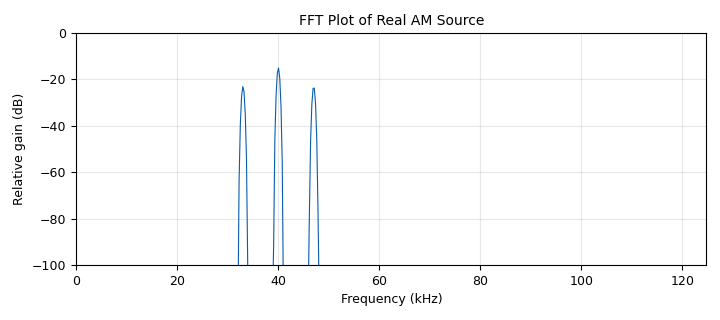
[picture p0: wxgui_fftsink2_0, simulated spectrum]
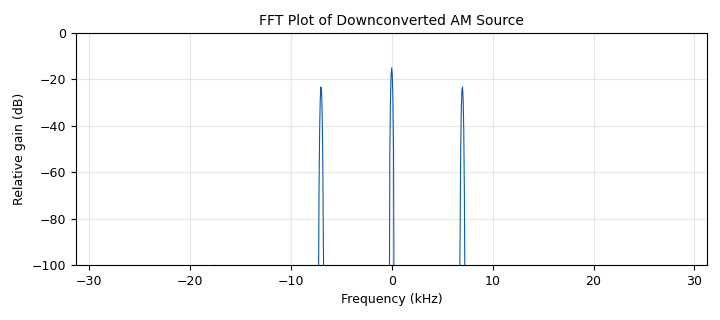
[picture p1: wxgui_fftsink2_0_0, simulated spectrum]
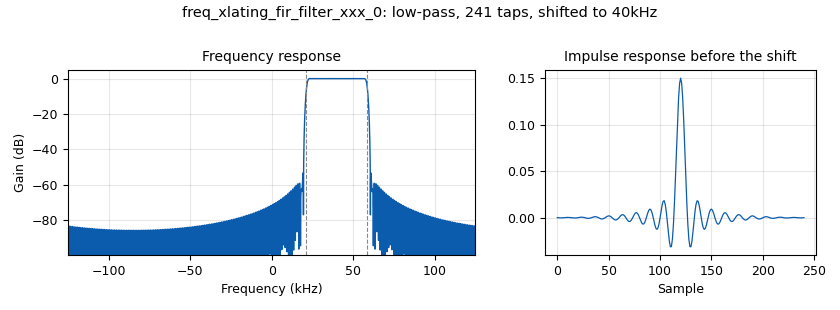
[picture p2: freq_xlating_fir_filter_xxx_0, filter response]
<?xml version='1.0' encoding='utf-8'?>
<?grc format='1' created='3.7.5'?>
<flow_graph>
<block>
<key>options</key>
<param><key>id</key><value>top_block</value></param>
<param><key>generate_options</key><value>wx_gui</value></param>
<param><key>category</key><value>Custom</value></param>
</block>
<block>
<key>variable</key>
<param><key>id</key><value>samp_rate</value></param>
<param><key>value</key><value>250000</value></param>
</block>
<block>
<key>variable</key>
<param><key>id</key><value>decimation</value></param>
<param><key>value</key><value>4</value></param>
</block>
<block>
<key>analog_sig_source_x</key>
<param><key>id</key><value>analog_sig_source_x_0</value></param>
<param><key>type</key><value>float</value></param>
<param><key>samp_rate</key><value>samp_rate</value></param>
<param><key>waveform</key><value>analog.GR_COS_WAVE</value></param>
<param><key>freq</key><value>fmod</value></param>
<param><key>amp</key><value>0.4</value></param>
<param><key>offset</key><value>0</value></param>
</block>
<block>
<key>variable_slider</key>
<param><key>id</key><value>fmod</value></param>
<param><key>label</key><value>Modulation frequency</value></param>
<param><key>value</key><value>7e3</value></param>
<param><key>min</key><value>0</value></param>
<param><key>max</key><value>40e3</value></param>
<param><key>num_steps</key><value>100</value></param>
<param><key>style</key><value>wx.SL_HORIZONTAL</value></param>
<param><key>converver</key><value>float_converter</value></param>
</block>
<block>
<key>blocks_add_const_vxx</key>
<param><key>id</key><value>blocks_add_const_vxx_0</value></param>
<param><key>type</key><value>float</value></param>
<param><key>const</key><value>0.5</value></param>
</block>
<block>
<key>analog_sig_source_x</key>
<param><key>id</key><value>analog_sig_source_x_0_0</value></param>
<param><key>type</key><value>float</value></param>
<param><key>samp_rate</key><value>samp_rate</value></param>
<param><key>waveform</key><value>analog.GR_COS_WAVE</value></param>
<param><key>freq</key><value>fcarr</value></param>
<param><key>amp</key><value>1</value></param>
<param><key>offset</key><value>0</value></param>
</block>
<block>
<key>wxgui_fftsink2</key>
<param><key>id</key><value>wxgui_fftsink2_0</value></param>
<param><key>type</key><value>float</value></param>
<param><key>title</key><value>FFT Plot of Real AM Source</value></param>
<param><key>samp_rate</key><value>samp_rate</value></param>
<param><key>baseband_freq</key><value>0</value></param>
<param><key>y_per_div</key><value>10</value></param>
<param><key>y_divs</key><value>10</value></param>
<param><key>ref_level</key><value>0</value></param>
<param><key>ref_scale</key><value>2.0</value></param>
<param><key>fft_size</key><value>1024</value></param>
<param><key>fft_rate</key><value>15</value></param>
<param><key>peak_hold</key><value>False</value></param>
<param><key>average</key><value>False</value></param>
<param><key>avg_alpha</key><value>0</value></param>
<param><key>win</key><value>None</value></param>
<param><key>notebook</key><value>nb0,0</value></param>
<param><key>freqvar</key><value>None</value></param>
</block>
<block>
<key>freq_xlating_fir_filter_xxx</key>
<param><key>id</key><value>freq_xlating_fir_filter_xxx_0</value></param>
<param><key>type</key><value>fcf</value></param>
<param><key>decim</key><value>decimation</value></param>
<param><key>taps</key><value>firdes.low_pass(1,1,.5/decimation-0.05,0.01)</value></param>
<param><key>center_freq</key><value>fcarr</value></param>
<param><key>samp_rate</key><value>samp_rate</value></param>
</block>
<block>
<key>ha5kfu_execproc_xx</key>
<param><key>id</key><value>ha5kfu_execproc_xx_0</value></param>
<param><key>type</key><value>cf</value></param>
<param><key>commandline</key><value>csdr amdemod_cf</value></param>
</block>
<block>
<key>wxgui_scopesink2</key>
<param><key>id</key><value>wxgui_scopesink2_0</value></param>
<param><key>type</key><value>float</value></param>
<param><key>title</key><value>Scope Plot after amdemod_cf</value></param>
<param><key>samp_rate</key><value>samp_rate/decimation</value></param>
<param><key>v_scale</key><value>0</value></param>
<param><key>v_offset</key><value>0</value></param>
<param><key>t_scale</key><value>0</value></param>
<param><key>ac_couple</key><value>False</value></param>
<param><key>xy_mode</key><value>False</value></param>
<param><key>num_inputs</key><value>1</value></param>
<param><key>notebook</key><value>nb0,2</value></param>
<param><key>trig_mode</key><value>wxgui.TRIG_MODE_AUTO</value></param>
<param><key>y_axis_label</key><value>Counts</value></param>
</block>
<block>
<key>blocks_multiply_xx</key>
<param><key>id</key><value>blocks_multiply_xx_0</value></param>
<param><key>type</key><value>float</value></param>
</block>
<block>
<key>blocks_multiply_const_vxx</key>
<param><key>id</key><value>blocks_multiply_const_vxx_0</value></param>
<param><key>type</key><value>float</value></param>
<param><key>const</key><value>gain</value></param>
</block>
<block>
<key>blocks_throttle</key>
<param><key>id</key><value>blocks_throttle_0</value></param>
<param><key>type</key><value>float</value></param>
<param><key>samples_per_second</key><value>samp_rate</value></param>
</block>
<block>
<key>wxgui_fftsink2</key>
<param><key>id</key><value>wxgui_fftsink2_0_0</value></param>
<param><key>type</key><value>complex</value></param>
<param><key>title</key><value>FFT Plot of Downconverted AM Source</value></param>
<param><key>samp_rate</key><value>samp_rate/decimation</value></param>
<param><key>baseband_freq</key><value>0</value></param>
<param><key>y_per_div</key><value>10</value></param>
<param><key>y_divs</key><value>10</value></param>
<param><key>ref_level</key><value>0</value></param>
<param><key>ref_scale</key><value>2.0</value></param>
<param><key>fft_size</key><value>1024</value></param>
<param><key>fft_rate</key><value>15</value></param>
<param><key>peak_hold</key><value>False</value></param>
<param><key>average</key><value>False</value></param>
<param><key>avg_alpha</key><value>0</value></param>
<param><key>win</key><value>None</value></param>
<param><key>notebook</key><value>nb0,0</value></param>
<param><key>freqvar</key><value>None</value></param>
</block>
<block>
<key>wxgui_fftsink2</key>
<param><key>id</key><value>wxgui_fftsink2_0_0_0</value></param>
<param><key>type</key><value>float</value></param>
<param><key>title</key><value>FFT Plot after amdemod_cf</value></param>
<param><key>samp_rate</key><value>samp_rate/decimation</value></param>
<param><key>baseband_freq</key><value>0</value></param>
<param><key>y_per_div</key><value>10</value></param>
<param><key>y_divs</key><value>10</value></param>
<param><key>ref_level</key><value>0</value></param>
<param><key>ref_scale</key><value>2.0</value></param>
<param><key>fft_size</key><value>1024</value></param>
<param><key>fft_rate</key><value>15</value></param>
<param><key>peak_hold</key><value>False</value></param>
<param><key>average</key><value>False</value></param>
<param><key>avg_alpha</key><value>0</value></param>
<param><key>win</key><value>None</value></param>
<param><key>notebook</key><value>nb0,1</value></param>
<param><key>freqvar</key><value>None</value></param>
</block>
<block>
<key>wxgui_fftsink2</key>
<param><key>id</key><value>wxgui_fftsink2_0_0_0_0</value></param>
<param><key>type</key><value>float</value></param>
<param><key>title</key><value>FFT Plot after amdemod_estimator_cf</value></param>
<param><key>samp_rate</key><value>samp_rate/decimation</value></param>
<param><key>baseband_freq</key><value>0</value></param>
<param><key>y_per_div</key><value>10</value></param>
<param><key>y_divs</key><value>10</value></param>
<param><key>ref_level</key><value>0</value></param>
<param><key>ref_scale</key><value>2.0</value></param>
<param><key>fft_size</key><value>1024</value></param>
<param><key>fft_rate</key><value>15</value></param>
<param><key>peak_hold</key><value>False</value></param>
<param><key>average</key><value>False</value></param>
<param><key>avg_alpha</key><value>0</value></param>
<param><key>win</key><value>None</value></param>
<param><key>notebook</key><value>nb0,1</value></param>
<param><key>freqvar</key><value>None</value></param>
</block>
<block>
<key>wxgui_scopesink2</key>
<param><key>id</key><value>wxgui_scopesink2_0_0</value></param>
<param><key>type</key><value>float</value></param>
<param><key>title</key><value>Scope Plot after amdemod_estimator_cf</value></param>
<param><key>samp_rate</key><value>samp_rate/decimation</value></param>
<param><key>v_scale</key><value>0</value></param>
<param><key>v_offset</key><value>0</value></param>
<param><key>t_scale</key><value>0</value></param>
<param><key>ac_couple</key><value>False</value></param>
<param><key>xy_mode</key><value>False</value></param>
<param><key>num_inputs</key><value>1</value></param>
<param><key>notebook</key><value>nb0,2</value></param>
<param><key>trig_mode</key><value>wxgui.TRIG_MODE_AUTO</value></param>
<param><key>y_axis_label</key><value>Counts</value></param>
</block>
<block>
<key>notebook</key>
<param><key>id</key><value>nb0</value></param>
<param><key>style</key><value>wx.NB_TOP</value></param>
<param><key>labels</key><value>['AM source', 'demod', 'demod scope']</value></param>
</block>
<block>
<key>variable_slider</key>
<param><key>id</key><value>fcarr</value></param>
<param><key>label</key><value>Carrier frequency</value></param>
<param><key>value</key><value>40e3</value></param>
<param><key>min</key><value>0</value></param>
<param><key>max</key><value>samp_rate/2</value></param>
<param><key>num_steps</key><value>100</value></param>
<param><key>style</key><value>wx.SL_HORIZONTAL</value></param>
<param><key>converver</key><value>float_converter</value></param>
</block>
<block>
<key>variable_slider</key>
<param><key>id</key><value>gain</value></param>
<param><key>label</key><value>Gain</value></param>
<param><key>value</key><value>1.0</value></param>
<param><key>min</key><value>0</value></param>
<param><key>max</key><value>1.0</value></param>
<param><key>num_steps</key><value>100</value></param>
<param><key>style</key><value>wx.SL_HORIZONTAL</value></param>
<param><key>converver</key><value>float_converter</value></param>
</block>
<block>
<key>ha5kfu_execproc_xx</key>
<param><key>id</key><value>ha5kfu_execproc_xx_0_0</value></param>
<param><key>type</key><value>cf</value></param>
<param><key>commandline</key><value>csdr amdemod_estimator_cf</value></param>
</block>
<connection><source_block_id>analog_sig_source_x_0</source_block_id><sink_block_id>blocks_add_const_vxx_0</sink_block_id><source_key>0</source_key><sink_key>0</sink_key></connection>
<connection><source_block_id>analog_sig_source_x_0_0</source_block_id><sink_block_id>blocks_multiply_xx_0</sink_block_id><source_key>0</source_key><sink_key>1</sink_key></connection>
<connection><source_block_id>blocks_add_const_vxx_0</source_block_id><sink_block_id>blocks_multiply_xx_0</sink_block_id><source_key>0</source_key><sink_key>0</sink_key></connection>
<connection><source_block_id>blocks_throttle_0</source_block_id><sink_block_id>freq_xlating_fir_filter_xxx_0</sink_block_id><source_key>0</source_key><sink_key>0</sink_key></connection>
<connection><source_block_id>freq_xlating_fir_filter_xxx_0</source_block_id><sink_block_id>wxgui_fftsink2_0_0</sink_block_id><source_key>0</source_key><sink_key>0</sink_key></connection>
<connection><source_block_id>blocks_throttle_0</source_block_id><sink_block_id>wxgui_fftsink2_0</sink_block_id><source_key>0</source_key><sink_key>0</sink_key></connection>
<connection><source_block_id>freq_xlating_fir_filter_xxx_0</source_block_id><sink_block_id>ha5kfu_execproc_xx_0</sink_block_id><source_key>0</source_key><sink_key>0</sink_key></connection>
<connection><source_block_id>ha5kfu_execproc_xx_0</source_block_id><sink_block_id>wxgui_fftsink2_0_0_0</sink_block_id><source_key>0</source_key><sink_key>0</sink_key></connection>
<connection><source_block_id>ha5kfu_execproc_xx_0_0</source_block_id><sink_block_id>wxgui_fftsink2_0_0_0_0</sink_block_id><source_key>0</source_key><sink_key>0</sink_key></connection>
<connection><source_block_id>freq_xlating_fir_filter_xxx_0</source_block_id><sink_block_id>ha5kfu_execproc_xx_0_0</sink_block_id><source_key>0</source_key><sink_key>0</sink_key></connection>
<connection><source_block_id>ha5kfu_execproc_xx_0</source_block_id><sink_block_id>wxgui_scopesink2_0</sink_block_id><source_key>0</source_key><sink_key>0</sink_key></connection>
<connection><source_block_id>ha5kfu_execproc_xx_0_0</source_block_id><sink_block_id>wxgui_scopesink2_0_0</sink_block_id><source_key>0</source_key><sink_key>0</sink_key></connection>
<connection><source_block_id>blocks_multiply_xx_0</source_block_id><sink_block_id>blocks_multiply_const_vxx_0</sink_block_id><source_key>0</source_key><sink_key>0</sink_key></connection>
<connection><source_block_id>blocks_multiply_const_vxx_0</source_block_id><sink_block_id>blocks_throttle_0</sink_block_id><source_key>0</source_key><sink_key>0</sink_key></connection>
</flow_graph>
